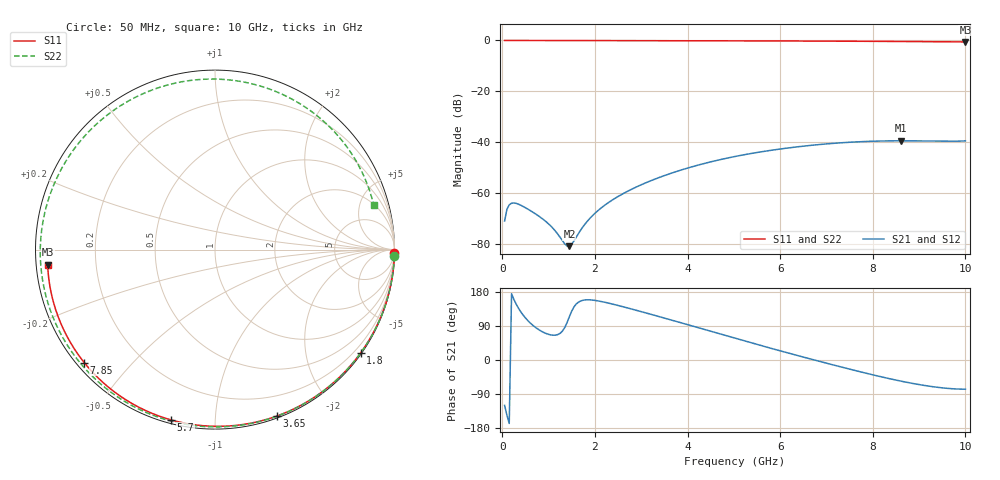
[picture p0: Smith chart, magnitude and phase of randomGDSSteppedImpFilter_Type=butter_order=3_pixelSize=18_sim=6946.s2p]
! freq	dB(S11)	phase(S11)	dB(S12)	phase(S12)
!  dB(S21)	phase(S21)	dB(S22)	phase(S22)
!S-par simulation data
#  GHz  S  DB  R 50
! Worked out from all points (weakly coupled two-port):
!   200 points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, 50 MHz to 10 GHz, reference 50 ohm
!   highest |S21| = -39.42 dB at 8.6 GHz (marker M1); lowest = -80.8 dB at 1.45 GHz (marker M2)
!   lowest |S11| = -0.6 dB at 10 GHz (marker M3), VSWR 30.33, Z = 1.65 - j2.22 ohm
!   |S11| at or under -10 dB: nowhere
!   |S22| runs from -0.7 to 0.0 dB; largest |S21 - S12| = 0
!   S11 on the Smith chart (normalised r, x): 50 MHz: open; 1.8 GHz: 0.03, -3.14; 3.65 GHz: 0.02, -1.44; 5.7 GHz: 0.02, -0.77; 7.85 GHz: 0.02, -0.37; 10 GHz: 0.03, -0.04
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0.05  -0.00 -1.0  -70.92 -119.8  -70.92 -119.8  -0.00 -2.1
0.1  -0.00 -2.0  -66.29 -145.9  -66.29 -145.9  -0.00 -4.1
0.15  -0.00 -3.0  -64.56 -167.4  -64.56 -167.4  -0.00 -6.2
0.35  -0.00 -7.0  -64.31 136.6  -64.31 136.6  -0.01 -14.5
0.9  -0.02 -17.9  -70.50 72.4  -70.50 72.4  -0.04 -36.7
1.35  -0.03 -26.7  -79.91 85.9  -79.91 85.9  -0.07 -54.1
1.45  -0.04 -28.6  -80.80 114.7  -80.80 114.7  -0.07 -57.9
1.5  -0.04 -29.6  -80.01 129.3  -80.01 129.3  -0.07 -59.8
1.75  -0.04 -34.4  -72.98 157.8  -72.98 157.8  -0.08 -69.0
1.8  -0.05 -35.3  -71.79 158.7  -71.79 158.7  -0.09 -70.8
2.4  -0.06 -46.7  -62.38 147.0  -62.38 147.0  -0.11 -91.8
3.4  -0.09 -65.1  -53.74 114.1  -53.74 114.1  -0.14 -123.8
3.65  -0.09 -69.6  -52.13 105.5  -52.13 105.5  -0.15 -131.3
4.35  -0.12 -81.9  -48.37 81.0  -48.37 81.0  -0.18 -151.6
5.05  -0.14 -93.8  -45.48 56.5  -45.48 56.5  -0.22 -171.3
5.7  -0.18 -104.6  -43.42 34.3  -43.42 34.3  -0.25 170.5
6.7  -0.24 -120.8  -41.13 1.2  -41.13 1.2  -0.32 141.6
7.85  -0.33 -139.2  -39.67 -34.7  -39.67 -34.7  -0.41 104.9
8.35  -0.38 -147.2  -39.44 -49.0  -39.44 -49.0  -0.45 87.1
8.6  -0.40 -151.3  -39.42 -55.6  -39.42 -55.6  -0.48 77.6
9.3  -0.48 -162.9  -39.55 -70.5  -39.55 -70.5  -0.57 48.8
10  -0.57 -174.9  -39.44 -77.0  -39.44 -77.0  -0.74 15.7
